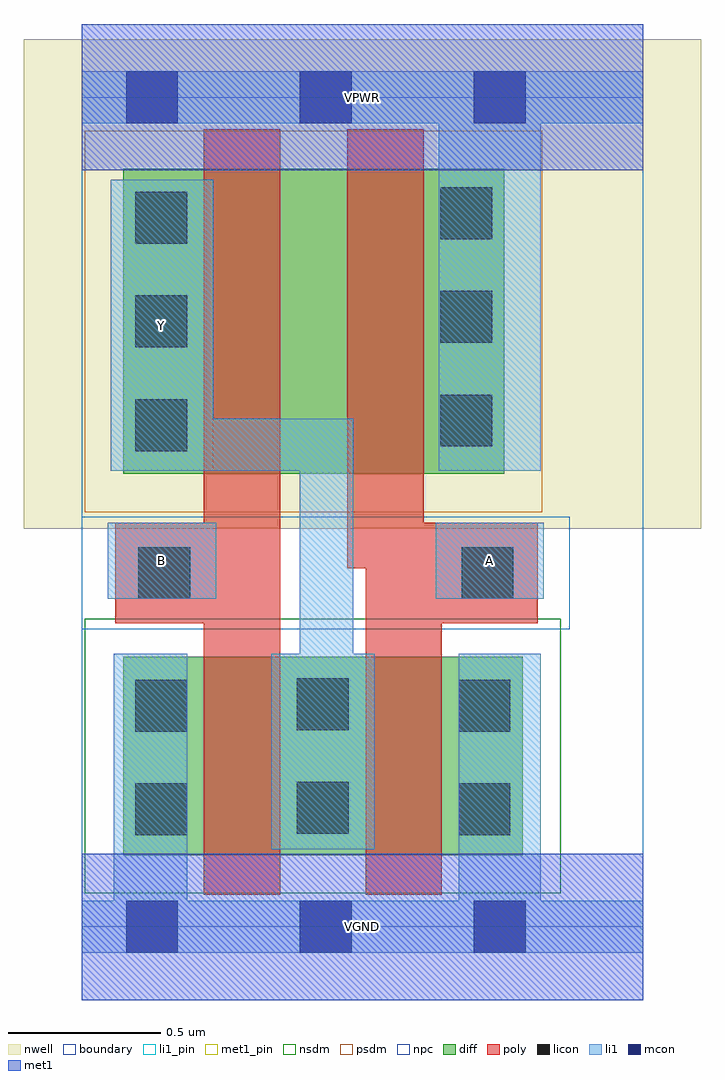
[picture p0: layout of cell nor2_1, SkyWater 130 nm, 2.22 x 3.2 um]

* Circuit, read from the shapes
.subckt nor2_1 A B VGND VPWR Y
XM1 Y B VGND VSUBS sky130_fd_pr__nfet_01v8 w=0.65 l=0.25
XM2 VGND A Y VSUBS sky130_fd_pr__nfet_01v8 w=0.65 l=0.25
XM3 n1 B Y n2 sky130_fd_pr__pfet_01v8 w=1 l=0.25
XM4 VPWR A n1 n2 sky130_fd_pr__pfet_01v8 w=1 l=0.25
.ends

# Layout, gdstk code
import gdstk
lib = gdstk.Library(unit=1e-6, precision=1e-09)
def R(c, l, rs):  # rectangles x0, y0, x1, y1
    for r in rs: c.add(gdstk.rectangle(r[:2], r[2:], *l))
def A(c, l, x, y, w, h, nx, ny, dx, dy):  # array of equal rectangles
    R(c, l, [(x+i*dx, y+j*dy, x+i*dx+w, y+j*dy+h) for i in range(nx) for j in range(ny)])
nwell = (64, 20)
diff = (65, 20)
poly = (66, 20)
licon = (66, 44)
li1_pin = (67, 16)
li1 = (67, 20)
mcon = (67, 44)
met1_pin = (68, 16)
met1 = (68, 20)
nsdm = (93, 44)
psdm = (94, 20)
npc = (95, 20)
boundary = (235, 4)

nor2_1 = lib.new_cell('nor2_1')
R(nor2_1, nwell, [(-0.19,1.305,2.03,2.91), (0,1.305,1.84,2.91)])
R(nor2_1, diff, [(0.135,0.235,1.445,0.885), (0.135,1.485,1.385,2.485)])
R(nor2_1, poly, [(0.4,0.105,0.65,2.615), (0.93,0.105,1.18,1.325), (0.11,0.995,0.65,1.325), (0.93,0.995,1.495,1.325), (0.87,1.175,1.12,2.615)])
A(nor2_1, licon, 0.175, 1.56, 0.17, 0.17, 1, 3, 0, 0.34)
A(nor2_1, licon, 1.175, 1.575, 0.17, 0.17, 1, 3, 0, 0.34)
R(nor2_1, licon, [(0.175,0.3,0.345,0.47), (1.235,0.3,1.405,0.47), (0.705,0.305,0.875,0.475), (0.175,0.64,0.345,0.81), (1.235,0.64,1.405,0.81), (0.705,0.645,0.875,0.815), (0.185,1.075,0.355,1.245), (1.245,1.075,1.415,1.245)])
R(nor2_1, li1_pin, [(0.085,1.075,0.44,1.325), (1.16,1.075,1.515,1.325), (0.095,1.495,0.43,2.45)])
R(nor2_1, li1, [(0,-0.085,1.84,0.085), (0.105,-0.085,0.345,0.895), (1.235,-0.085,1.505,0.895), (0.62,0.255,0.96,0.895), (0.715,0.255,0.89,1.665), (0.085,1.075,0.44,1.325), (1.16,1.075,1.515,1.325), (0.095,1.495,0.43,2.45), (0.095,1.495,0.89,1.665), (1.17,1.495,1.505,2.805), (0,2.635,1.84,2.805)])
A(nor2_1, mcon, 0.145, -0.085, 0.17, 0.17, 3, 2, 0.57, 2.72)
R(nor2_1, met1_pin, [(0,-0.24,1.84,0.24), (0,2.48,1.84,2.96)])
R(nor2_1, met1, [(0,-0.24,1.84,0.24), (0,2.48,1.84,2.96)])
R(nor2_1, nsdm, [(0.01,0.11,1.57,1.01)])
R(nor2_1, psdm, [(0.01,1.36,1.51,2.61)])
R(nor2_1, npc, [(0,0.975,1.6,1.345)])
R(nor2_1, boundary, [(0,0,1.84,2.72)])
nor2_1.add(gdstk.Label('A', (1.337,1.2), layer=67, texttype=5))
nor2_1.add(gdstk.Label('B', (0.262,1.2), layer=67, texttype=5))
nor2_1.add(gdstk.Label('Y', (0.262,1.972), layer=67, texttype=5))
nor2_1.add(gdstk.Label('VPWR', (0.92,2.72), layer=68, texttype=5))
nor2_1.add(gdstk.Label('VGND', (0.92,0), layer=68, texttype=5))
nor2_1.add(gdstk.Label('A', (1.337,1.2), layer=67, texttype=16))
nor2_1.add(gdstk.Label('B', (0.262,1.2), layer=67, texttype=16))
nor2_1.add(gdstk.Label('Y', (0.262,1.972), layer=67, texttype=16))
nor2_1.add(gdstk.Label('VPWR', (0.92,2.72), layer=68, texttype=16))
nor2_1.add(gdstk.Label('VGND', (0.92,0), layer=68, texttype=16))

lib.write_gds('nor2_1.gds')
